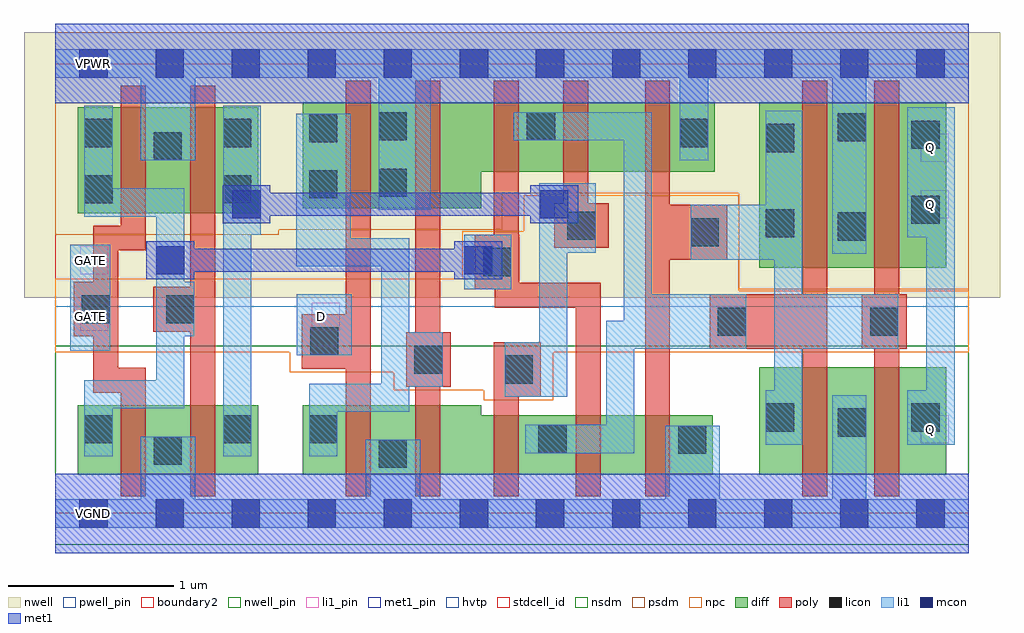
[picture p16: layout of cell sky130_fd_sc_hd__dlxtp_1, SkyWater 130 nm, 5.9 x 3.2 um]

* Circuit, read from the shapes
.subckt sky130_fd_sc_hd__dlxtp_1 D GATE Q VGND VNB VPB VPWR
XM1 VGND GATE n1 VNB sky130_fd_pr__nfet_01v8 w=0.42 l=0.15
XM2 n2 n1 VGND VNB sky130_fd_pr__nfet_01v8 w=0.42 l=0.15
XM3 VGND D n3 VNB sky130_fd_pr__nfet_01v8 w=0.42 l=0.15
XM4 n4 n3 VGND VNB sky130_fd_pr__nfet_01v8 w=0.42 l=0.15
XM5 n5 n2 n4 VNB sky130_fd_pr__nfet_01v8 w=0.36 l=0.15
XM6 n6 n1 n5 VNB sky130_fd_pr__nfet_01v8 w=0.36 l=0.15
XM7 VGND n7 n6 VNB sky130_fd_pr__nfet_01v8 w=0.36 l=0.15
XM8 VGND n5 n7 VNB sky130_fd_pr__nfet_01v8 w=0.65 l=0.15
XM9 Q n7 VGND VNB sky130_fd_pr__nfet_01v8 w=0.65 l=0.15
XM10 VPWR GATE n1 VPB sky130_fd_pr__pfet_01v8_hvt w=0.64 l=0.15
XM11 n2 n1 VPWR VPB sky130_fd_pr__pfet_01v8_hvt w=0.64 l=0.15
XM12 VPWR D n3 VPB sky130_fd_pr__pfet_01v8_hvt w=0.64 l=0.15
XM13 n8 n3 VPWR VPB sky130_fd_pr__pfet_01v8_hvt w=0.64 l=0.15
XM14 n5 n1 n8 VPB sky130_fd_pr__pfet_01v8_hvt w=0.42 l=0.15
XM15 n9 n2 n5 VPB sky130_fd_pr__pfet_01v8_hvt w=0.42 l=0.15
XM16 VPWR n7 n9 VPB sky130_fd_pr__pfet_01v8_hvt w=0.42 l=0.15
XM17 VPWR n5 n7 VPB sky130_fd_pr__pfet_01v8_hvt w=1 l=0.15
XM18 Q n7 VPWR VPB sky130_fd_pr__pfet_01v8_hvt w=1 l=0.15
.ends

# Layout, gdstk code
import gdstk
lib = gdstk.Library(unit=1e-6, precision=1e-09)
def R(c, l, rs):  # rectangles x0, y0, x1, y1
    for r in rs: c.add(gdstk.rectangle(r[:2], r[2:], *l))
def A(c, l, x, y, w, h, nx, ny, dx, dy):  # array of equal rectangles
    R(c, l, [(x+i*dx, y+j*dy, x+i*dx+w, y+j*dy+h) for i in range(nx) for j in range(ny)])
def P(c, l, *ps):  # polygons
    for p in ps: c.add(gdstk.Polygon(p, *l))
nwell_pin = (64, 16)
nwell = (64, 20)
diff = (65, 20)
poly = (66, 20)
licon = (66, 44)
li1_pin = (67, 16)
li1 = (67, 20)
mcon = (67, 44)
met1_pin = (68, 16)
met1 = (68, 20)
hvtp = (78, 44)
stdcell_id = (81, 4)
nsdm = (93, 44)
psdm = (94, 20)
npc = (95, 20)
pwell_pin = (122, 16)
boundary2 = (236, 0)

sky130_fd_sc_hd__dlxtp_1 = lib.new_cell('sky130_fd_sc_hd__dlxtp_1')
R(sky130_fd_sc_hd__dlxtp_1, nwell_pin, [(0.145,2.635,0.315,2.805), (0.145,2.635,0.315,2.805)])
R(sky130_fd_sc_hd__dlxtp_1, nwell, [(-0.19,1.305,5.71,2.91)])
R(sky130_fd_sc_hd__dlxtp_1, diff, [(0.135,0.235,1.225,0.655), (4.255,0.235,5.385,0.885), (4.255,1.485,5.385,2.485), (0.135,1.815,1.225,2.455)])
P(sky130_fd_sc_hd__dlxtp_1, diff, [(3.975,0.595),(2.575,0.595),(2.575,0.655),(1.495,0.655),(1.495,0.235),(3.975,0.235)],
  [(3.985,2.485),(1.495,2.485),(1.495,1.845),(2.575,1.845),(2.575,2.065),(3.985,2.065)])
R(sky130_fd_sc_hd__dlxtp_1, poly, [(2.65,0.105,2.8,0.705), (2.65,0.705,2.935,1.035), (3.015,1.605,3.345,1.875), (2.65,1.665,2.8,2.615), (3.07,1.855,3.22,2.615)])
P(sky130_fd_sc_hd__dlxtp_1, poly, [(5.145,1.325),(5.1,1.325),(5.1,2.615),(4.95,2.615),(4.95,1.325),(4.875,1.325),(4.875,0.995),(4.95,0.995),(4.95,0.105),(5.1,0.105),(5.1,0.995),(5.145,0.995)],
  [(4.665,2.615),(4.515,2.615),(4.515,1.325),(3.955,1.325),(3.955,0.995),(4.515,0.995),(4.515,0.105),(4.665,0.105)],
  [(4.06,1.865),(3.715,1.865),(3.715,2.615),(3.565,2.615),(3.565,0.105),(3.715,0.105),(3.715,1.535),(4.06,1.535)],
  [(3.295,1.395),(2.805,1.395),(2.805,1.685),(2.535,1.685),(2.535,1.355),(2.655,1.355),(2.655,1.245),(3.145,1.245),(3.145,0.105),(3.295,0.105)],
  [(2.39,1.095),(2.325,1.095),(2.325,2.615),(2.175,2.615),(2.175,1.095),(2.12,1.095),(2.12,0.765),(2.175,0.765),(2.175,0.105),(2.325,0.105),(2.325,0.765),(2.39,0.765)],
  [(1.905,2.615),(1.755,2.615),(1.755,1.205),(1.49,1.205),(1.49,0.875),(1.755,0.875),(1.755,0.105),(1.905,0.105)],
  [(0.965,2.585),(0.815,2.585),(0.815,1.37),(0.59,1.37),(0.59,1.1),(0.815,1.1),(0.815,0.105),(0.965,0.105)],
  [(0.545,0.88),(0.38,0.88),(0.38,1.59),(0.545,1.59),(0.545,2.585),(0.395,2.585),(0.395,1.74),(0.23,1.74),(0.23,1.4),(0.11,1.4),(0.11,1.07),(0.23,1.07),(0.23,0.73),(0.395,0.73),(0.395,0.105),(0.545,0.105)])
R(sky130_fd_sc_hd__dlxtp_1, licon, [(1.955,0.275,2.125,0.445), (0.595,0.295,0.765,0.465), (3.765,0.36,3.935,0.53), (2.92,0.365,3.09,0.535), (0.175,0.425,0.345,0.595), (1.015,0.425,1.185,0.595), (1.535,0.425,1.705,0.595), (4.73,0.465,4.9,0.635), (4.295,0.495,4.465,0.665), (5.175,0.495,5.345,0.665), (2.715,0.785,2.885,0.955), (2.17,0.845,2.34,1.015), (1.54,0.955,1.71,1.125), (4.005,1.075,4.175,1.245), (4.925,1.075,5.095,1.245), (0.16,1.15,0.33,1.32), (0.67,1.15,0.84,1.32), (2.585,1.435,2.755,1.605), (3.84,1.615,4.01,1.785), (4.73,1.65,4.9,1.82), (3.095,1.655,3.265,1.825), (4.295,1.67,4.465,1.84), (5.175,1.75,5.345,1.92), (0.175,1.875,0.345,2.045), (1.015,1.875,1.185,2.045), (1.535,1.905,1.705,2.075), (1.955,1.915,2.125,2.085), (0.595,2.135,0.765,2.305), (4.295,2.185,4.465,2.355), (5.175,2.205,5.345,2.375), (0.175,2.215,0.345,2.385), (1.015,2.215,1.185,2.385), (3.775,2.215,3.945,2.385), (1.535,2.245,1.705,2.415), (4.73,2.25,4.9,2.42), (1.955,2.255,2.125,2.425), (2.85,2.255,3.02,2.425)])
R(sky130_fd_sc_hd__dlxtp_1, li1_pin, [(5.23,0.425,5.4,0.595), (0.15,1.105,0.32,1.275), (1.55,1.105,1.72,1.275), (0.15,1.445,0.32,1.615), (5.23,1.785,5.4,1.955), (5.23,2.125,5.4,2.295)])
R(sky130_fd_sc_hd__dlxtp_1, li1, [(0,-0.085,5.52,0.085), (0.515,0,0.845,0.465), (1.875,0.04,2.205,0.445), (3.685,0.04,4.015,0.53), (4.695,0.05,4.9,0.715), (1.46,0.955,1.79,1.325), (0.09,0.985,0.33,1.625), (2.47,1.355,2.755,1.685), (4.695,1.57,4.9,2.65), (1.955,1.835,2.27,2.72), (0.515,2.135,0.845,2.67), (3.775,2.135,3.945,2.745), (0,2.635,5.52,2.805)])
P(sky130_fd_sc_hd__dlxtp_1, li1, [(0.84,1.4),(0.78,1.4),(0.78,1.965),(0.345,1.965),(0.345,2.465),(0.175,2.465),(0.175,1.795),(0.61,1.795),(0.61,0.805),(0.175,0.805),(0.175,0.345),(0.345,0.345),(0.345,0.635),(0.78,0.635),(0.78,1.07),(0.84,1.07)],
  [(1.24,2.465),(1.015,2.465),(1.015,0.345),(1.185,0.345),(1.185,1.685),(1.24,1.685)],
  [(5.435,2.455),(5.15,2.455),(5.15,1.67),(5.265,1.67),(5.265,0.745),(5.15,0.745),(5.15,0.415),(5.435,0.415)],
  [(2.34,1.095),(2.14,1.095),(2.14,1.665),(1.785,1.665),(1.785,2.415),(1.455,2.415),(1.455,1.495),(1.97,1.495),(1.97,0.785),(1.535,0.785),(1.535,0.345),(1.705,0.345),(1.705,0.615),(2.14,0.615),(2.14,0.765),(2.34,0.765)],
  [(5.095,1.325),(4.515,1.325),(4.515,2.435),(4.295,2.435),(4.295,1.865),(3.84,1.865),(3.84,1.535),(4.345,1.535),(4.345,0.745),(4.295,0.745),(4.295,0.415),(4.515,0.415),(4.515,0.995),(5.095,0.995)],
  [(4.175,1.325),(3.605,1.325),(3.605,2.425),(2.77,2.425),(2.77,2.255),(3.435,2.255),(3.435,1.165),(3.33,1.165),(3.33,0.535),(2.84,0.535),(2.84,0.365),(3.5,0.365),(3.5,0.995),(4.175,0.995)],
  [(3.265,1.995),(2.925,1.995),(2.925,1.035),(2.715,1.035),(2.715,0.705),(3.095,0.705),(3.095,1.575),(3.265,1.575)])
A(sky130_fd_sc_hd__dlxtp_1, mcon, 0.145, -0.085, 0.17, 0.17, 12, 2, 0.46, 2.72)
R(sky130_fd_sc_hd__dlxtp_1, mcon, [(0.61,1.445,0.78,1.615), (2.47,1.445,2.64,1.615), (1.07,1.785,1.24,1.955), (2.93,1.785,3.1,1.955)])
R(sky130_fd_sc_hd__dlxtp_1, met1_pin, [(0.145,-0.085,0.315,0.085), (0.145,2.635,0.315,2.805)])
R(sky130_fd_sc_hd__dlxtp_1, met1, [(0.55,1.415,0.84,1.645), (1.01,1.755,1.3,1.985)])
P(sky130_fd_sc_hd__dlxtp_1, met1, [(2.7,1.645),(2.41,1.645),(2.41,1.6),(0.585,1.6),(0.585,1.46),(2.41,1.46),(2.41,1.415),(2.7,1.415)],
  [(3.16,1.985),(2.87,1.985),(2.87,1.94),(1.055,1.94),(1.055,1.8),(2.87,1.8),(2.87,1.755),(3.16,1.755)])
R(sky130_fd_sc_hd__dlxtp_1, hvtp, [(0,1.25,5.52,2.72)])
R(sky130_fd_sc_hd__dlxtp_1, stdcell_id, [(0,0,5.52,2.72)])
R(sky130_fd_sc_hd__dlxtp_1, nsdm, [(0,-0.19,5.52,1.015)])
P(sky130_fd_sc_hd__dlxtp_1, psdm, [(5.52,2.91),(0,2.91),(0,1.685),(1.35,1.685),(1.35,1.715),(2.7,1.715),(2.7,1.935),(4.13,1.935),(4.13,1.355),(5.52,1.355)])
P(sky130_fd_sc_hd__dlxtp_1, npc, [(5.52,1.345),(4.13,1.345),(4.13,1.925),(2.83,1.925),(2.83,1.705),(2.46,1.705),(2.46,1.42),(0,1.42),(0,0.975),(1.415,0.975),(1.415,0.855),(2.045,0.855),(2.045,0.745),(2.59,0.745),(2.59,0.685),(3.01,0.685),(3.01,0.975),(5.52,0.975)])
R(sky130_fd_sc_hd__dlxtp_1, pwell_pin, [(0.145,-0.085,0.315,0.085), (0.145,-0.085,0.315,0.085)])
R(sky130_fd_sc_hd__dlxtp_1, boundary2, [(0,0,5.52,2.72)])
sky130_fd_sc_hd__dlxtp_1.add(gdstk.FlexPath([(0,2.72),(5.52,2.72)], 0.48, ends="flush", simple_path=True, layer=68, datatype=20))  # met1
sky130_fd_sc_hd__dlxtp_1.add(gdstk.FlexPath([(0,0),(5.52,0)], 0.48, ends="flush", simple_path=True, layer=68, datatype=20))  # met1
sky130_fd_sc_hd__dlxtp_1.add(gdstk.Label('D', (1.61,1.19), layer=67, texttype=5))
sky130_fd_sc_hd__dlxtp_1.add(gdstk.Label('GATE', (0.21,1.19), layer=67, texttype=5))
sky130_fd_sc_hd__dlxtp_1.add(gdstk.Label('Q', (5.29,1.87), layer=67, texttype=5))
sky130_fd_sc_hd__dlxtp_1.add(gdstk.Label('GATE', (0.21,1.53), layer=67, texttype=5))
sky130_fd_sc_hd__dlxtp_1.add(gdstk.Label('Q', (5.29,2.21), layer=67, texttype=5))
sky130_fd_sc_hd__dlxtp_1.add(gdstk.Label('Q', (5.29,0.51), layer=67, texttype=5))
sky130_fd_sc_hd__dlxtp_1.add(gdstk.Label('VGND', (0.23,0), layer=68, texttype=5))
sky130_fd_sc_hd__dlxtp_1.add(gdstk.Label('VPWR', (0.23,2.72), layer=68, texttype=5))
sky130_fd_sc_hd__dlxtp_1.add(gdstk.Label('VPB', (0.23,2.72), layer=64, texttype=5))
sky130_fd_sc_hd__dlxtp_1.add(gdstk.Label('VPB', (0.23,2.72), layer=64, texttype=5))
sky130_fd_sc_hd__dlxtp_1.add(gdstk.Label('VNB', (0.23,0), layer=64, texttype=59))
sky130_fd_sc_hd__dlxtp_1.add(gdstk.Label('VNB', (0.23,0), layer=64, texttype=59))
sky130_fd_sc_hd__dlxtp_1.add(gdstk.Label('dlxtp_1', (0,0), layer=83, texttype=44))

lib.write_gds('sky130_fd_sc_hd__dlxtp_1.gds')
